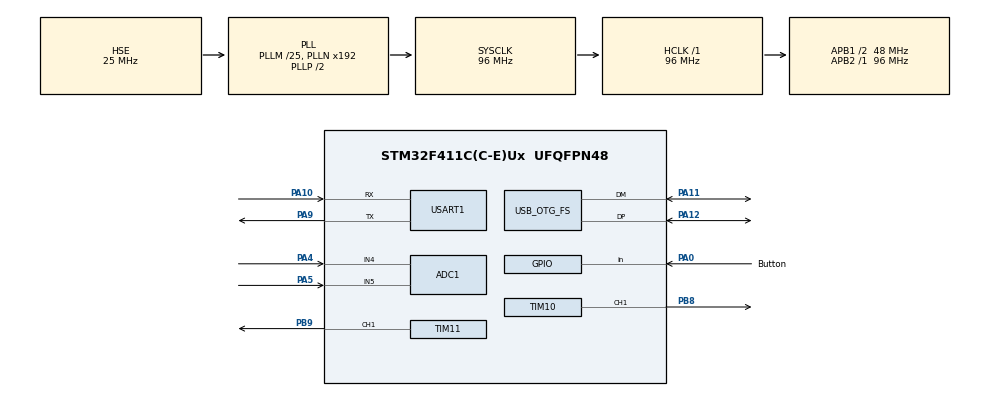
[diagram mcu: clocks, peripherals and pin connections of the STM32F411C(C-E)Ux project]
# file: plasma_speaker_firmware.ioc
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ADC1.Channel-0\#ChannelRegularConversion=ADC_CHANNEL_5
ADC1.Channel-1\#ChannelRegularConversion=ADC_CHANNEL_4
ADC1.NbrOfConversion=2
ADC1.NbrOfConversionFlag=1
ADC1.Rank-0\#ChannelRegularConversion=1
ADC1.Rank-1\#ChannelRegularConversion=2
ADC1.SamplingTime-0\#ChannelRegularConversion=ADC_SAMPLETIME_480CYCLES
ADC1.SamplingTime-1\#ChannelRegularConversion=ADC_SAMPLETIME_480CYCLES
ADC1.master=1
Mcu.Family=STM32F4
Mcu.Name=STM32F411C(C-E)Ux
Mcu.Package=UFQFPN48
NVIC.OTG_FS_IRQn=true\:0\:0\:false\:false\:true\:true\:true\:true
NVIC.PriorityGroup=NVIC_PRIORITYGROUP_4
NVIC.TIM3_IRQn=true\:0\:0\:false\:false\:true\:true\:true\:true
PA0-WKUP.GPIO_Label=Button
PA0-WKUP.GPIO_PuPd=GPIO_PULLUP
PA0-WKUP.Signal=GPIO_Input
PA10.Mode=Asynchronous
PA10.Signal=USART1_RX
PA11.Mode=Device_Only
PA11.Signal=USB_OTG_FS_DM
PA12.Mode=Device_Only
PA12.Signal=USB_OTG_FS_DP
PA4.Signal=ADCx_IN4
PA5.Signal=ADCx_IN5
PA9.Mode=Asynchronous
PA9.Signal=USART1_TX
PB8.Signal=S_TIM10_CH1
PB9.Signal=S_TIM11_CH1
PC14-OSC32_IN.Mode=LSE-External-Oscillator
PC14-OSC32_IN.Signal=RCC_OSC32_IN
PC15-OSC32_OUT.Mode=LSE-External-Oscillator
PC15-OSC32_OUT.Signal=RCC_OSC32_OUT
PH0\ -\ OSC_IN.Mode=HSE-External-Oscillator
PH0\ -\ OSC_IN.Signal=RCC_OSC_IN
PH1\ -\ OSC_OUT.Mode=HSE-External-Oscillator
PH1\ -\ OSC_OUT.Signal=RCC_OSC_OUT
ProjectManager.HeapSize=0x200
ProjectManager.StackSize=0x400
ProjectManager.TargetToolchain=STM32CubeIDE
RCC.48MHZClocksFreq_Value=48000000
RCC.AHBFreq_Value=96000000
RCC.APB1CLKDivider=RCC_HCLK_DIV2
RCC.APB1Freq_Value=48000000
RCC.APB1TimFreq_Value=96000000
RCC.APB2Freq_Value=96000000
RCC.APB2TimFreq_Value=96000000
RCC.CortexFreq_Value=96000000
RCC.HCLKFreq_Value=96000000
RCC.HSE_VALUE=25000000
RCC.HSI_VALUE=16000000
RCC.PLLM=25
RCC.SYSCLKFreq_VALUE=96000000
RCC.SYSCLKSource=RCC_SYSCLKSOURCE_PLLCLK
RCC.VCOOutputFreq_Value=192000000
SH.ADCx_IN4.0=ADC1_IN4,IN4
SH.ADCx_IN5.0=ADC1_IN5,IN5
SH.S_TIM10_CH1.0=TIM10_CH1,PWM Generation1 CH1
SH.S_TIM11_CH1.0=TIM11_CH1,PWM Generation1 CH1
TIM10.AutoReloadPreload=TIM_AUTORELOAD_PRELOAD_DISABLE
TIM10.Channel=TIM_CHANNEL_1
TIM10.Period=2742
TIM10.Prescaler=0
TIM10.Pulse=512
TIM11.Channel=TIM_CHANNEL_1
TIM11.Period=2742
TIM11.Pulse=512
TIM3.AutoReloadPreload=TIM_AUTORELOAD_PRELOAD_ENABLE
TIM3.Period=2181
USART1.VirtualMode=VM_ASYNC
USB_OTG_FS.VirtualMode=Device_Only
VP_TIM10_VS_ClockSourceINT.Mode=Enable_Timer
VP_TIM11_VS_ClockSourceINT.Mode=Enable_Timer
VP_TIM3_VS_ClockSourceINT.Mode=Internal
board=custom

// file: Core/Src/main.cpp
/* USER CODE BEGIN Header */
/**
  ******************************************************************************
  * @file           : main.c
  * @brief          : Main program body
  ******************************************************************************
  * @attention
  *
  * Copyright (c) 2026 STMicroelectronics.
  * All rights reserved.
  *
  * This software is licensed under terms that can be found in the LICENSE file
  * in the root directory of this software component.
  * If no LICENSE file comes with this software, it is provided AS-IS.
  *
  ******************************************************************************
  */
/* USER CODE END Header */
#include "main.h"

/* USER CODE BEGIN Includes */
#include "tusb.h"
#include "plasmaSpeaker.h"
/* USER CODE END Includes */

ADC_HandleTypeDef hadc1;

TIM_HandleTypeDef htim3;
TIM_HandleTypeDef htim10;
TIM_HandleTypeDef htim11;

UART_HandleTypeDef huart1;

PCD_HandleTypeDef hpcd_USB_OTG_FS;

void SystemClock_Config(void);
static void MX_GPIO_Init(void);
static void MX_USB_OTG_FS_PCD_Init(void);
static void MX_TIM3_Init(void);
static void MX_USART1_UART_Init(void);
static void MX_TIM10_Init(void);
static void MX_TIM11_Init(void);
static void MX_ADC1_Init(void);

int main(void)
{

  /* MCU Configuration--------------------------------------------------------*/

  /* Reset of all peripherals, Initializes the Flash interface and the Systick. */
  HAL_Init();

  /* Configure the system clock */
  SystemClock_Config();

  /* Initialize all configured peripherals */
  MX_GPIO_Init();
  MX_USB_OTG_FS_PCD_Init();
  MX_TIM3_Init();
  MX_USART1_UART_Init();
  MX_TIM10_Init();
  MX_TIM11_Init();
  MX_ADC1_Init();
  /* USER CODE BEGIN 2 */

  	// ADC enable
  	LL_ADC_Enable(ADC1);
  	// PWM Channel right start
 	htim10.Instance->CCR1 = 0;
  	HAL_TIM_PWM_Start(&htim10, TIM_CHANNEL_1);
    // PWM Channel left start
  	htim11.Instance->CCR1 = 0;
  	HAL_TIM_PWM_Start(&htim11, TIM_CHANNEL_1);

  	// Oscillator Timer start
  	HAL_TIM_Base_Start_IT(&htim3);
  	// Init Midi USB
	tusb_rhport_init_t dev_init = {
			.role = TUSB_ROLE_DEVICE,
			.speed = TUSB_SPEED_FULL
	};
	tusb_init(0, &dev_init);
  /* USER CODE END 2 */

  /* Infinite loop */
  /* USER CODE BEGIN WHILE */
	plasmaSpeaker app;
  while (1)
  {
    /* USER CODE END WHILE */

    /* USER CODE BEGIN 3 */
	  // Midi USB loop
	  tud_task();
	  while(tud_midi_n_available(0, 0)){
		  uint8_t midiPacket[4];
		  tud_midi_n_packet_read(0, midiPacket);
		  app.newMidi(midiPacket);
	  }

	  // App loop
	  app.run();
  }
  /* USER CODE END 3 */
}

void SystemClock_Config(void)
{
  RCC_OscInitTypeDef RCC_OscInitStruct = {0};
  RCC_ClkInitTypeDef RCC_ClkInitStruct = {0};

  /** Configure the main internal regulator output voltage
  */
  __HAL_RCC_PWR_CLK_ENABLE();
  __HAL_PWR_VOLTAGESCALING_CONFIG(PWR_REGULATOR_VOLTAGE_SCALE1);

  /** Initializes the RCC Oscillators according to the specified parameters
  * in the RCC_OscInitTypeDef structure.
  */
  RCC_OscInitStruct.OscillatorType = RCC_OSCILLATORTYPE_HSE;
  RCC_OscInitStruct.HSEState = RCC_HSE_ON;
  RCC_OscInitStruct.PLL.PLLState = RCC_PLL_ON;
  RCC_OscInitStruct.PLL.PLLSource = RCC_PLLSOURCE_HSE;
  RCC_OscInitStruct.PLL.PLLM = 25;
  RCC_OscInitStruct.PLL.PLLN = 192;
  RCC_OscInitStruct.PLL.PLLP = RCC_PLLP_DIV2;
  RCC_OscInitStruct.PLL.PLLQ = 4;
  if (HAL_RCC_OscConfig(&RCC_OscInitStruct) != HAL_OK)
  {
    Error_Handler();
  }

  /** Initializes the CPU, AHB and APB buses clocks
  */
  RCC_ClkInitStruct.ClockType = RCC_CLOCKTYPE_HCLK|RCC_CLOCKTYPE_SYSCLK
                              |RCC_CLOCKTYPE_PCLK1|RCC_CLOCKTYPE_PCLK2;
  RCC_ClkInitStruct.SYSCLKSource = RCC_SYSCLKSOURCE_PLLCLK;
  RCC_ClkInitStruct.AHBCLKDivider = RCC_SYSCLK_DIV1;
  RCC_ClkInitStruct.APB1CLKDivider = RCC_HCLK_DIV2;
  RCC_ClkInitStruct.APB2CLKDivider = RCC_HCLK_DIV1;

  if (HAL_RCC_ClockConfig(&RCC_ClkInitStruct, FLASH_LATENCY_3) != HAL_OK)
  {
    Error_Handler();
  }
}

static void MX_ADC1_Init(void)
{

  ADC_ChannelConfTypeDef sConfig = {0};

  /** Configure the global features of the ADC (Clock, Resolution, Data Alignment and number of conversion)
  */
  hadc1.Instance = ADC1;
  hadc1.Init.ClockPrescaler = ADC_CLOCK_SYNC_PCLK_DIV4;
  hadc1.Init.Resolution = ADC_RESOLUTION_12B;
  hadc1.Init.ScanConvMode = ENABLE;
  hadc1.Init.ContinuousConvMode = DISABLE;
  hadc1.Init.DiscontinuousConvMode = DISABLE;
  hadc1.Init.ExternalTrigConvEdge = ADC_EXTERNALTRIGCONVEDGE_NONE;
  hadc1.Init.ExternalTrigConv = ADC_SOFTWARE_START;
  hadc1.Init.DataAlign = ADC_DATAALIGN_RIGHT;
  hadc1.Init.NbrOfConversion = 2;
  hadc1.Init.DMAContinuousRequests = DISABLE;
  hadc1.Init.EOCSelection = ADC_EOC_SINGLE_CONV;
  if (HAL_ADC_Init(&hadc1) != HAL_OK)
  {
    Error_Handler();
  }

  /** Configure for the selected ADC regular channel its corresponding rank in the sequencer and its sample time.
  */
  sConfig.Channel = ADC_CHANNEL_5;
  sConfig.Rank = 1;
  sConfig.SamplingTime = ADC_SAMPLETIME_480CYCLES;
  if (HAL_ADC_ConfigChannel(&hadc1, &sConfig) != HAL_OK)
  {
    Error_Handler();
  }

  /** Configure for the selected ADC regular channel its corresponding rank in the sequencer and its sample time.
  */
  sConfig.Channel = ADC_CHANNEL_4;
  sConfig.Rank = 2;
  if (HAL_ADC_ConfigChannel(&hadc1, &sConfig) != HAL_OK)
  {
    Error_Handler();
  }

}

static void MX_TIM3_Init(void)
{

  TIM_ClockConfigTypeDef sClockSourceConfig = {0};
  TIM_MasterConfigTypeDef sMasterConfig = {0};

  htim3.Instance = TIM3;
  htim3.Init.Prescaler = 0;
  htim3.Init.CounterMode = TIM_COUNTERMODE_UP;
  htim3.Init.Period = 2181;
  htim3.Init.ClockDivision = TIM_CLOCKDIVISION_DIV1;
  htim3.Init.AutoReloadPreload = TIM_AUTORELOAD_PRELOAD_ENABLE;
  if (HAL_TIM_Base_Init(&htim3) != HAL_OK)
  {
    Error_Handler();
  }
  sClockSourceConfig.ClockSource = TIM_CLOCKSOURCE_INTERNAL;
  if (HAL_TIM_ConfigClockSource(&htim3, &sClockSourceConfig) != HAL_OK)
  {
    Error_Handler();
  }
  sMasterConfig.MasterOutputTrigger = TIM_TRGO_RESET;
  sMasterConfig.MasterSlaveMode = TIM_MASTERSLAVEMODE_DISABLE;
  if (HAL_TIMEx_MasterConfigSynchronization(&htim3, &sMasterConfig) != HAL_OK)
  {
    Error_Handler();
  }

}

static void MX_TIM10_Init(void)
{

  TIM_OC_InitTypeDef sConfigOC = {0};

  htim10.Instance = TIM10;
  htim10.Init.Prescaler = 0;
  htim10.Init.CounterMode = TIM_COUNTERMODE_UP;
  htim10.Init.Period = 2742;
  htim10.Init.ClockDivision = TIM_CLOCKDIVISION_DIV1;
  htim10.Init.AutoReloadPreload = TIM_AUTORELOAD_PRELOAD_DISABLE;
  if (HAL_TIM_Base_Init(&htim10) != HAL_OK)
  {
    Error_Handler();
  }
  if (HAL_TIM_PWM_Init(&htim10) != HAL_OK)
  {
    Error_Handler();
  }
  sConfigOC.OCMode = TIM_OCMODE_PWM1;
  sConfigOC.Pulse = 512;
  sConfigOC.OCPolarity = TIM_OCPOLARITY_HIGH;
  sConfigOC.OCFastMode = TIM_OCFAST_DISABLE;
  if (HAL_TIM_PWM_ConfigChannel(&htim10, &sConfigOC, TIM_CHANNEL_1) != HAL_OK)
  {
    Error_Handler();
  }
  HAL_TIM_MspPostInit(&htim10);

}

static void MX_TIM11_Init(void)
{

  TIM_OC_InitTypeDef sConfigOC = {0};

  htim11.Instance = TIM11;
  htim11.Init.Prescaler = 0;
  htim11.Init.CounterMode = TIM_COUNTERMODE_UP;
  htim11.Init.Period = 2742;
  htim11.Init.ClockDivision = TIM_CLOCKDIVISION_DIV1;
  htim11.Init.AutoReloadPreload = TIM_AUTORELOAD_PRELOAD_DISABLE;
  if (HAL_TIM_Base_Init(&htim11) != HAL_OK)
  {
    Error_Handler();
  }
  if (HAL_TIM_PWM_Init(&htim11) != HAL_OK)
  {
    Error_Handler();
  }
  sConfigOC.OCMode = TIM_OCMODE_PWM1;
  sConfigOC.Pulse = 512;
  sConfigOC.OCPolarity = TIM_OCPOLARITY_HIGH;
  sConfigOC.OCFastMode = TIM_OCFAST_DISABLE;
  if (HAL_TIM_PWM_ConfigChannel(&htim11, &sConfigOC, TIM_CHANNEL_1) != HAL_OK)
  {
    Error_Handler();
  }
  HAL_TIM_MspPostInit(&htim11);

}

static void MX_USART1_UART_Init(void)
{

  huart1.Instance = USART1;
  huart1.Init.BaudRate = 115200;
  huart1.Init.WordLength = UART_WORDLENGTH_8B;
  huart1.Init.StopBits = UART_STOPBITS_1;
  huart1.Init.Parity = UART_PARITY_NONE;
  huart1.Init.Mode = UART_MODE_TX_RX;
  huart1.Init.HwFlowCtl = UART_HWCONTROL_NONE;
  huart1.Init.OverSampling = UART_OVERSAMPLING_16;
  if (HAL_UART_Init(&huart1) != HAL_OK)
  {
    Error_Handler();
  }

}

static void MX_USB_OTG_FS_PCD_Init(void)
{

  hpcd_USB_OTG_FS.Instance = USB_OTG_FS;
  hpcd_USB_OTG_FS.Init.dev_endpoints = 4;
  hpcd_USB_OTG_FS.Init.speed = PCD_SPEED_FULL;
  hpcd_USB_OTG_FS.Init.dma_enable = DISABLE;
  hpcd_USB_OTG_FS.Init.phy_itface = PCD_PHY_EMBEDDED;
  hpcd_USB_OTG_FS.Init.Sof_enable = DISABLE;
  hpcd_USB_OTG_FS.Init.low_power_enable = DISABLE;
  hpcd_USB_OTG_FS.Init.lpm_enable = DISABLE;
  hpcd_USB_OTG_FS.Init.vbus_sensing_enable = DISABLE;
  hpcd_USB_OTG_FS.Init.use_dedicated_ep1 = DISABLE;
  if (HAL_PCD_Init(&hpcd_USB_OTG_FS) != HAL_OK)
  {
    Error_Handler();
  }

}

static void MX_GPIO_Init(void)
{
  LL_GPIO_InitTypeDef GPIO_InitStruct = {0};

  /* GPIO Ports Clock Enable */
  LL_AHB1_GRP1_EnableClock(LL_AHB1_GRP1_PERIPH_GPIOC);
  LL_AHB1_GRP1_EnableClock(LL_AHB1_GRP1_PERIPH_GPIOH);
  LL_AHB1_GRP1_EnableClock(LL_AHB1_GRP1_PERIPH_GPIOA);
  LL_AHB1_GRP1_EnableClock(LL_AHB1_GRP1_PERIPH_GPIOB);

  /**/
  GPIO_InitStruct.Pin = Button_Pin;
  GPIO_InitStruct.Mode = LL_GPIO_MODE_INPUT;
  GPIO_InitStruct.Pull = LL_GPIO_PULL_UP;
  LL_GPIO_Init(Button_GPIO_Port, &GPIO_InitStruct);

}

void Error_Handler(void)
{
  __disable_irq();
  while (1)
  {
  }
}
